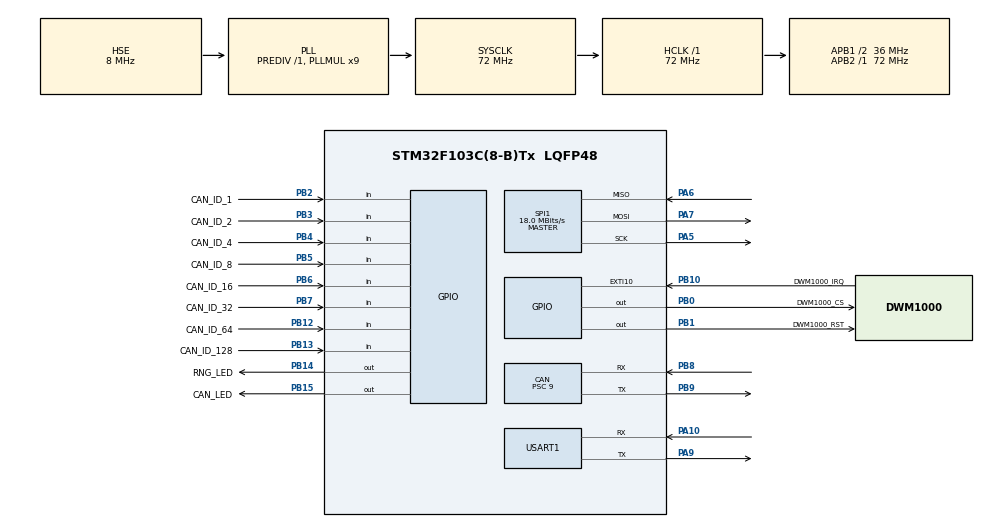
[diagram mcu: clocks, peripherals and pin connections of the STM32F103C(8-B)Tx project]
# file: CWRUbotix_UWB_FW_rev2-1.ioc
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Mcu.Family=STM32F1
FREERTOS.Queues01=dataQueue,16,uint32_t,0,Dynamic,NULL,NULL
PA6.Mode=Full_Duplex_Master
FREERTOS.BinarySemaphores01=dw_irq_sem,Dynamic,NULL;debug_bin_sem,Dynamic,NULL;doRanging,Dynamic,NULL;doBroadcast,Dynamic,NULL;timeoutSem,Dynamic,NULL
SPI1.VirtualType=VM_MASTER
PB14.GPIO_Label=RNG_LED
PB0.GPIO_Label=DWM1000_CS
PB6.GPIO_Label=CAN_ID_16
NVIC.TIM1_UP_IRQn=true\:0\:0\:false\:false\:true\:false\:false\:true
PB13.GPIO_Label=CAN_ID_128
PB13.Signal=GPIO_Input
PB15.Signal=GPIO_Output
RCC.SYSCLKSource=RCC_SYSCLKSOURCE_PLLCLK
ProjectManager.StackSize=0x400
VP_FREERTOS_VS_CMSIS_V2.Mode=CMSIS_V2
PD1-OSC_OUT.Signal=RCC_OSC_OUT
CAN.Prescaler=9
PB0.PinState=GPIO_PIN_SET
SPI1.Direction=SPI_DIRECTION_2LINES
PB1.GPIO_PuPd=GPIO_NOPULL
RCC.HCLKFreq_Value=72000000
RCC.APB2TimFreq_Value=72000000
PB6.Signal=GPIO_Input
SPI1.CalculateBaudRate=18.0 MBits/s
RCC.AHBFreq_Value=72000000
NVIC.EXTI15_10_IRQn=true\:0\:0\:false\:false\:true\:false\:true\:true
PB2.Signal=GPIO_Input
RCC.PLLMUL=RCC_PLL_MUL9
PB12.GPIO_Label=CAN_ID_64
PB3.GPIO_PuPd=GPIO_PULLDOWN
PB1.GPIO_Speed=GPIO_SPEED_FREQ_HIGH
PA14.Mode=Serial_Wire
VP_SYS_VS_tim1.Mode=TIM1
PB1.GPIO_Label=DWM1000_RST
PB7.Signal=GPIO_Input
CAN.CalculateTimeQuantum=250.0
PB2.GPIO_PuPd=GPIO_PULLDOWN
PB1.PinState=GPIO_PIN_SET
PB7.GPIO_Label=CAN_ID_32
Mcu.Package=LQFP48
PB9.Signal=CAN_TX
PA6.Signal=SPI1_MISO
PB1.Signal=GPIO_Output
NVIC.TimeBase=TIM1_UP_IRQn
NVIC.TimeBaseIP=TIM1
PA10.Signal=USART1_RX
PB5.GPIO_Label=CAN_ID_8
RCC.APB1TimFreq_Value=72000000
SPI1.BaudRatePrescaler=SPI_BAUDRATEPRESCALER_4
PB4.Signal=GPIO_Input
PA5.Mode=Full_Duplex_Master
PB3.GPIO_Label=CAN_ID_2
PB7.GPIO_PuPd=GPIO_PULLDOWN
RCC.PLLSourceVirtual=RCC_PLLSOURCE_HSE
FREERTOS.Tasks01=defaultTask,24,128,StartDefaultTask,Default,NULL,Dynamic,NULL,NULL;ioTask,8,128,StartIoTask,Default,NULL,Dynamic,NULL,NULL
PA7.Mode=Full_Duplex_Master
PD1-OSC_OUT.Mode=HSE-External-Oscillator
PA10.Mode=Asynchronous
PB6.GPIO_PuPd=GPIO_PULLDOWN
PD0-OSC_IN.Signal=RCC_OSC_IN
RCC.APB1CLKDivider=RCC_HCLK_DIV2
CAN.CalculateTimeBit=1000
PB0.GPIO_Speed=GPIO_SPEED_FREQ_HIGH
PA13.Signal=SYS_JTMS-SWDIO
PA9.Mode=Asynchronous
CAN.BS1=CAN_BS1_2TQ
ProjectManager.TargetToolchain=Makefile
PB14.GPIO_Speed=GPIO_SPEED_FREQ_HIGH
PB10.GPIO_Label=DWM1000_IRQ
PB9.Mode=Master
PA9.Signal=USART1_TX
PB4.GPIO_PuPd=GPIO_PULLDOWN
RCC.USBFreq_Value=72000000
PD0-OSC_IN.Mode=HSE-External-Oscillator
PB10.Signal=GPXTI10
PB14.Signal=GPIO_Output
PA5.Signal=SPI1_SCK
board=custom
PB13.GPIO_PuPd=GPIO_PULLDOWN
RCC.APB2Freq_Value=72000000
PB4.GPIO_Label=CAN_ID_4
PB15.GPIO_Label=CAN_LED
VP_TIM2_VS_ClockSourceINT.Mode=Internal
SPI1.Mode=SPI_MODE_MASTER
PB15.GPIO_Speed=GPIO_SPEED_FREQ_HIGH
TIM2.Period=144
PA13.Mode=Serial_Wire
Mcu.Name=STM32F103C(8-B)Tx
PB3.Signal=GPIO_Input
RCC.SYSCLKFreq_VALUE=72000000
PB5.Signal=GPIO_Input
PB5.GPIO_PuPd=GPIO_PULLDOWN
USART1.VirtualMode=VM_ASYNC
PA14.Signal=SYS_JTCK-SWCLK
PB2.GPIO_Label=CAN_ID_1
ProjectManager.HeapSize=0x200
FREERTOS.Timers01=rangingTimer,rangingTimerCallback,osTimerPeriodic,Default,NULL,Dynamic,NULL;broadcastTimer,boadcastTimerCallback,osTimerPeriodic,Default,NULL,Dynamic,NULL;rangingTimeoutTimer,rngTimeoutCallback,osTimerOnce,Default,NULL,Dynamic,NULL
NVIC.PriorityGroup=NVIC_PRIORITYGROUP_4
PB8.Mode=Master
PB8.Signal=CAN_RX
PB1.GPIO_ModeDefaultOutputPP=GPIO_MODE_OUTPUT_OD
PB12.GPIO_PuPd=GPIO_PULLDOWN
RCC.APB1Freq_Value=36000000
PB0.Signal=GPIO_Output
PB12.Signal=GPIO_Input
PA7.Signal=SPI1_MOSI

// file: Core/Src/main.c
/* USER CODE BEGIN Header */
/**
  ******************************************************************************
  * @file           : main.c
  * @brief          : Main program body
  ******************************************************************************
  * @attention
  *
  * <h2><center>&copy; Copyright (c) 2021 STMicroelectronics.
  * All rights reserved.</center></h2>
  *
  * This software component is licensed by ST under BSD 3-Clause license,
  * the "License"; You may not use this file except in compliance with the
  * License. You may obtain a copy of the License at:
  *                        opensource.org/licenses/BSD-3-Clause
  *
  ******************************************************************************
  */
/* USER CODE END Header */
#include "main.h"
#include "cmsis_os.h"
#include "can.h"
#include "spi.h"
#include "tim.h"
#include "usart.h"
#include "gpio.h"

void SystemClock_Config(void);
void MX_FREERTOS_Init(void);

int main(void)
{

  /* MCU Configuration--------------------------------------------------------*/

  /* Reset of all peripherals, Initializes the Flash interface and the Systick. */
  HAL_Init();

  /* Configure the system clock */
  SystemClock_Config();

  /* Initialize all configured peripherals */
  MX_GPIO_Init();
  MX_CAN_Init();
  MX_SPI1_Init();
  MX_USART1_UART_Init();
  MX_TIM2_Init();

  /* Init scheduler */
  osKernelInitialize();  /* Call init function for freertos objects (in freertos.c) */
  MX_FREERTOS_Init();
  /* Start scheduler */
  osKernelStart();

  /* We should never get here as control is now taken by the scheduler */
  /* Infinite loop */
  while (1)
  {

  }
}

void SystemClock_Config(void)
{
  RCC_OscInitTypeDef RCC_OscInitStruct = {0};
  RCC_ClkInitTypeDef RCC_ClkInitStruct = {0};

  /** Initializes the RCC Oscillators according to the specified parameters
  * in the RCC_OscInitTypeDef structure.
  */
  RCC_OscInitStruct.OscillatorType = RCC_OSCILLATORTYPE_HSE;
  RCC_OscInitStruct.HSEState = RCC_HSE_ON;
  RCC_OscInitStruct.HSEPredivValue = RCC_HSE_PREDIV_DIV1;
  RCC_OscInitStruct.HSIState = RCC_HSI_ON;
  RCC_OscInitStruct.PLL.PLLState = RCC_PLL_ON;
  RCC_OscInitStruct.PLL.PLLSource = RCC_PLLSOURCE_HSE;
  RCC_OscInitStruct.PLL.PLLMUL = RCC_PLL_MUL9;
  if (HAL_RCC_OscConfig(&RCC_OscInitStruct) != HAL_OK)
  {
    Error_Handler();
  }
  /** Initializes the CPU, AHB and APB buses clocks
  */
  RCC_ClkInitStruct.ClockType = RCC_CLOCKTYPE_HCLK|RCC_CLOCKTYPE_SYSCLK
                              |RCC_CLOCKTYPE_PCLK1|RCC_CLOCKTYPE_PCLK2;
  RCC_ClkInitStruct.SYSCLKSource = RCC_SYSCLKSOURCE_PLLCLK;
  RCC_ClkInitStruct.AHBCLKDivider = RCC_SYSCLK_DIV1;
  RCC_ClkInitStruct.APB1CLKDivider = RCC_HCLK_DIV2;
  RCC_ClkInitStruct.APB2CLKDivider = RCC_HCLK_DIV1;

  if (HAL_RCC_ClockConfig(&RCC_ClkInitStruct, FLASH_LATENCY_2) != HAL_OK)
  {
    Error_Handler();
  }
}

void HAL_TIM_PeriodElapsedCallback(TIM_HandleTypeDef *htim)
{
  if (htim->Instance == TIM1) {
    HAL_IncTick();
  }
}

void Error_Handler(void)
{
}

/************************ (C) COPYRIGHT STMicroelectronics *****END OF FILE****/

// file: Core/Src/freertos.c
/* USER CODE BEGIN Header */
/**
  ******************************************************************************
  * File Name          : freertos.c
  * Description        : Code for freertos applications
  ******************************************************************************
  * @attention
  *
  * <h2><center>&copy; Copyright (c) 2021 STMicroelectronics.
  * All rights reserved.</center></h2>
  *
  * This software component is licensed by ST under Ultimate Liberty license
  * SLA0044, the "License"; You may not use this file except in compliance with
  * the License. You may obtain a copy of the License at:
  *                             www.st.com/SLA0044
  *
  ******************************************************************************
  */
/* USER CODE END Header */

#include "FreeRTOS.h"
#include "task.h"
#include "main.h"
#include "cmsis_os.h"

/* USER CODE BEGIN Includes */
#include "can.h"
#include "usart.h"
#include "spi.h"
#include "tim.h"
#include <inttypes.h>
#include "semphr.h"
#include "string.h"
#include "comm.h"
#include "rtls.h"
#include "printf.h"
/* USER CODE END Includes */

/* USER CODE BEGIN PTD */
typedef struct ranging_data_struct {
  uint16_t anchor_id;
  float distance;
  uint16_t confidence;
}RangingData_t;
/* USER CODE END PTD */

/* USER CODE BEGIN PD */
#define IF_TYPE_USB 	0x01
#define IF_TYPE_UART 	0x02

#define DEBUG_BUF_SIZE 256
/* USER CODE END PD */

/* USER CODE BEGIN Variables */
extern uint8_t* debug_buf;
int debug_buf_offset = 0; // indicates length of the string in debug_buf
char debug_text[80];
char scratch_buf[128];
int print_ind = 0;

static dwt_config_t config = {
		2,               /* Channel number. */
		DWT_PRF_64M,     /* Pulse repetition frequency. */
		DWT_PLEN_128,   /* Preamble length. Used in TX only. */
		DWT_PAC8,       /* Preamble acquisition chunk size. Used in RX only. */
		9,               /* TX preamble code. Used in TX only. */
		9,               /* RX preamble code. Used in RX only. */
		0,               /* 0 to use standard SFD, 1 to use non-standard SFD. */
		DWT_BR_6M8,      /* Data rate. */
		DWT_PHRMODE_STD, /* PHY header mode. */
		(1025 + 64)    	 /* SFD timeout (preamble length + 1 + SFD length - PAC size). Used in RX only. */
};

state_data_t 	state_data;
CONFIG_FIELD_TYPE self_config[FIELD_SIZE*NUM_FIELDS]; 	// configuration for ourselves
extern AnchorData* anchor_data;
extern TagData* tag_data;
extern uint8_t UserRxBufferFS[];
uint8_t UserTxBufferFS[INPUT_BUFFER_SIZE];
state_t 		state 		= IDLE;
HAL_StatusTypeDef 	UART_status;
HAL_StatusTypeDef 	uart2_status; 	// status of uart2
int8_t 				usb_status;
uint32_t 			bytes_read; 	//
uint8_t packet[INPUT_BUFFER_SIZE]; 	// will hold received packet from host
uint8_t packet_type = 0; 			// type of received packet
int packet_len 	= 0; 			// length of received packet
int packet_rcvd 	= 0; 			// indicate if packet has been received and how to process it
uint8_t send_buf[SEND_BUF_SIZE]; 	// lorge buffer for response packet
int usb_ind = 0;

/* Definitions for debug_bin_sem */
osSemaphoreId_t sendCanUpdateBinSemHandle;
const osSemaphoreAttr_t sendCanUpdateBinSem_attributes = {
  .name = "sendCanUpdateBinSem"
};
/* Definitions for dataQueue */
osMessageQueueId_t rangingDataQueueHandle;
const osMessageQueueAttr_t rangingDataQueue_attributes = {
  .name = "rangingDataQueue"
};

/* USER CODE END Variables */
/* Definitions for defaultTask */
osThreadId_t defaultTaskHandle;
const osThreadAttr_t defaultTask_attributes = {
  .name = "defaultTask",
  .priority = (osPriority_t) osPriorityNormal,
  .stack_size = 128 * 4
};
/* Definitions for ioTask */
osThreadId_t ioTaskHandle;
const osThreadAttr_t ioTask_attributes = {
  .name = "ioTask",
  .priority = (osPriority_t) osPriorityLow,
  .stack_size = 128 * 4
};
/* Definitions for dataQueue */
osMessageQueueId_t dataQueueHandle;
const osMessageQueueAttr_t dataQueue_attributes = {
  .name = "dataQueue"
};
/* Definitions for rangingTimer */
osTimerId_t rangingTimerHandle;
const osTimerAttr_t rangingTimer_attributes = {
  .name = "rangingTimer"
};
/* Definitions for broadcastTimer */
osTimerId_t broadcastTimerHandle;
const osTimerAttr_t broadcastTimer_attributes = {
  .name = "broadcastTimer"
};
/* Definitions for rangingTimeoutTimer */
osTimerId_t rangingTimeoutTimerHandle;
const osTimerAttr_t rangingTimeoutTimer_attributes = {
  .name = "rangingTimeoutTimer"
};
/* Definitions for dw_irq_sem */
osSemaphoreId_t dw_irq_semHandle;
const osSemaphoreAttr_t dw_irq_sem_attributes = {
  .name = "dw_irq_sem"
};
/* Definitions for debug_bin_sem */
osSemaphoreId_t debug_bin_semHandle;
const osSemaphoreAttr_t debug_bin_sem_attributes = {
  .name = "debug_bin_sem"
};
/* Definitions for doRanging */
osSemaphoreId_t doRangingHandle;
const osSemaphoreAttr_t doRanging_attributes = {
  .name = "doRanging"
};
/* Definitions for doBroadcast */
osSemaphoreId_t doBroadcastHandle;
const osSemaphoreAttr_t doBroadcast_attributes = {
  .name = "doBroadcast"
};
/* Definitions for timeoutSem */
osSemaphoreId_t timeoutSemHandle;
const osSemaphoreAttr_t timeoutSem_attributes = {
  .name = "timeoutSem"
};

/* USER CODE BEGIN FunctionPrototypes */
uint32_t get_self_id();
/* USER CODE END FunctionPrototypes */

void StartDefaultTask(void *argument);
void StartIoTask(void *argument);
void rangingTimerCallback(void *argument);
void boadcastTimerCallback(void *argument);
void rngTimeoutCallback(void *argument);

void MX_FREERTOS_Init(void); /* (MISRA C 2004 rule 8.1) */

void MX_FREERTOS_Init(void) {

  /* Create the semaphores(s) */
  /* creation of dw_irq_sem */
  dw_irq_semHandle = osSemaphoreNew(1, 1, &dw_irq_sem_attributes);

  /* creation of debug_bin_sem */
  debug_bin_semHandle = osSemaphoreNew(1, 1, &debug_bin_sem_attributes);

  /* creation of doRanging */
  doRangingHandle = osSemaphoreNew(1, 1, &doRanging_attributes);

  /* creation of doBroadcast */
  doBroadcastHandle = osSemaphoreNew(1, 1, &doBroadcast_attributes);

  /* creation of timeoutSem */
  timeoutSemHandle = osSemaphoreNew(1, 1, &timeoutSem_attributes);

  /* USER CODE BEGIN RTOS_SEMAPHORES */
  /* add semaphores, ... */
  sendCanUpdateBinSemHandle = osSemaphoreNew(1, 1, &sendCanUpdateBinSem_attributes);
  /* USER CODE END RTOS_SEMAPHORES */

  /* Create the timer(s) */
  /* creation of rangingTimer */
  rangingTimerHandle = osTimerNew(rangingTimerCallback, osTimerPeriodic, NULL, &rangingTimer_attributes);

  /* creation of broadcastTimer */
  broadcastTimerHandle = osTimerNew(boadcastTimerCallback, osTimerPeriodic, NULL, &broadcastTimer_attributes);

  /* creation of rangingTimeoutTimer */
  rangingTimeoutTimerHandle = osTimerNew(rngTimeoutCallback, osTimerOnce, NULL, &rangingTimeoutTimer_attributes);

  /* Create the queue(s) */
  /* creation of dataQueue */
  dataQueueHandle = osMessageQueueNew (16, sizeof(uint32_t), &dataQueue_attributes);

  /* USER CODE BEGIN RTOS_QUEUES */
  /* add queues, ... */
  rangingDataQueueHandle = osMessageQueueNew (8, sizeof(RangingData_t), &rangingDataQueue_attributes);
  /* USER CODE END RTOS_QUEUES */

  /* Create the thread(s) */
  /* creation of defaultTask */
  defaultTaskHandle = osThreadNew(StartDefaultTask, NULL, &defaultTask_attributes);

  /* creation of ioTask */
  ioTaskHandle = osThreadNew(StartIoTask, NULL, &ioTask_attributes);

}

void StartDefaultTask(void *argument)
{
  /* USER CODE BEGIN StartDefaultTask */

  init_anchor_array(anchor_data, ANCHOR_LIST_SIZE + 1);
  state_data.anchors = anchor_data;
  state_data.tags = tag_data;
  init_field_memory(self_config); // set everything to defaults
  read_config_from_eeprom(self_config); 	// pull any existing values from flash
  state_data.self_id = (uint16_t)get_self_id(); // id set by DIP switches
  init_from_config(self_config, &config, &state_data); // inititalize the DWM1000 from our fields

  osDelay(state_data.self_id * 10); // stagger startup times

  if(state_data.mode == DEVICE_MODE_TAG){
		osTimerStart(rangingTimerHandle, state_data.ranging_period); // start the ranging timer
  }else{
		osTimerStart(broadcastTimerHandle, ANCHOR_BROADCAST_PERIOD + 10*state_data.self_id); // start the broadcast timer
  }
  /* Infinite loop */
  for(;;)
  {
    // Check if we've received a frame
    if(osSemaphoreAcquire(dw_irq_semHandle, 20) == osOK && read_rx_frame(state_data.rx_buffer) > 0){
      // we've received a frame
      // debug_put("Frame received\r\n");
			if(state_data.rx_buffer[MAC_SIZE_EXPECTED] == ANCHOR_BROADCAST){
        // debug_put("Processing Broadcast\r\n");
				process_anchor_broadcast(&state_data); // this also reenables receiver
			}else if(state_data.mode == DEVICE_MODE_TAG){
        // ==== NEW FRAME STATE MACHINE ====
        switch(state_data.state){
          case IDLE:{
            dwt_rxenable(DWT_START_RX_IMMEDIATE); // re-enable receiver and listen for broadcast
            osDelay(2); // while idle, delay between loop iterations
            break;
          }case WAIT_FOR_RESPONSE:{
            if(state_data.rx_buffer[MAC_SIZE_EXPECTED] == RESPONSE_INIT &&
              get_src_addr(state_data.rx_buffer) == state_data.transact_id){

              state_data.t_rr = get_rx_timestamp();

              send_response_final(&state_data);

              if(state_data.tx_status == TX_SUCCESS){
                set_wait_for_data(&state_data); // also enables receiver
                // debug_put("Got response\r\n");
              }else{
                debug_put("Transmit failed.\r\n");
                dwt_forcetrxoff();
                // init_from_config(self_config, &config, &state_data); // just reinitialize
                set_state_tag_idle(&state_data);
                osDelay(5);
              }

            }
            else{
              dwt_rxenable(DWT_START_RX_IMMEDIATE); // re-enable receiver and keep listening
            }
            break;
          }case WAIT_FOR_DATA:{
            if(state_data.rx_buffer[MAC_SIZE_EXPECTED] == RESPONSE_DATA && get_src_addr(state_data.rx_buffer) == state_data.transact_id){

              osTimerStop(rangingTimeoutTimerHandle); // stop the timeout timer

              AnchorData* anchor = &(state_data.anchors[state_data.anchor_ind]);

              // COPY ALL THE DATA OVER
              int ind = MAC_SIZE_EXPECTED + 1; // index for start of timestamps
              memcpy(&state_data.t_rp, state_data.rx_buffer + ind, sizeof(state_data.t_rp));
              ind += sizeof(state_data.t_rp);
              memcpy(&state_data.t_sr, state_data.rx_buffer + ind, sizeof(state_data.t_sr));
              ind += sizeof(state_data.t_sr);
              memcpy(&state_data.t_rf, state_data.rx_buffer + ind, sizeof(state_data.t_rf));
              ind += sizeof(state_data.t_rf);
              memcpy(&anchor->x, state_data.rx_buffer + ind, sizeof(anchor->x));
              ind += sizeof(anchor->x);
              memcpy(&anchor->y, state_data.rx_buffer + ind, sizeof(anchor->y));
              ind += sizeof(anchor->y);
              memcpy(&anchor->z, state_data.rx_buffer + ind, sizeof(anchor->z));
              ind += sizeof(anchor->z);
              anchor->timestamp = HAL_GetTick();

              get_tof(&state_data); // updates the tof field

              state_data.distance = DISTANCE_FROM_TOF(state_data.tof);

              anchor->timeout_count = 0; // only a successful ranging transaction will reset this counter
              anchor->distance = state_data.distance;
              sprintf(debug_text, "Distance to anchor %d is %.3f\r\n", anchor->id, anchor->distance);
              debug_put(debug_text);

              if(osMessageQueueGetSpace(rangingDataQueueHandle) > 0){
                RangingData_t data = {
                  .anchor_id = anchor->id,
                  .distance = state_data.distance,
                  .confidence = 0
                };
                osMessageQueuePut(rangingDataQueueHandle, &data, 0, 0);
              }

              set_state_tag_idle(&state_data); 		// back to idle state

              next_anchor(&state_data); 				// increment anchor index

              osDelay(5);
            }
            break;
          }default:{
            set_state_tag_idle(&state_data);
            break;
          }
        }
        // dwt_rxenable(DWT_START_RX_IMMEDIATE); 	// finally, re-enable receiver and keep listening
      }else if(state_data.mode == DEVICE_MODE_ANCHOR){
        // react based on the frame type
        switch(state_data.rx_buffer[MAC_SIZE_EXPECTED]){
          case POLL:{

            state_data.t_rp = get_rx_timestamp(); 		// stash rx timestamp
            state_data.transact_id = get_src_addr(state_data.rx_buffer); // indicate who we're talking with

            // sprintf(debug_text, "Poll received from %d\r\n", state_data.transact_id);
            // debug_put(debug_text);

            TagData new_tag;
            int ind = find_tag(state_data.transact_id, state_data.tags);
            if(ind < 0){
              // didn't find it, so try to add it
              ind = add_tag(new_tag, state_data.tags);
            }

            if(ind >= 0){
              // we were able to add it
              enable_ranging(&state_data); // indicate ranging in progress
              state_data.tags[ind].active = 1;
              state_data.tags[ind].id = state_data.transact_id;
              state_data.tags[ind].t_rp = state_data.t_rp;

              dwt_forcetrxoff(); // seems we need to do this
              send_response_init(&state_data); 	// send a RESPONSE_INIT frame & stash t_sr timestamp
              state_data.tags[ind].t_sr = state_data.t_sr; // copy over for when we need to respond

              if(state_data.tx_status != TX_SUCCESS){
                init_from_config(self_config, &config, &state_data); // just reinitialize
              }else{
                // osTimerStart(rangingTimeoutTimerHandle, RANGING_TIMEOUT); // start the ranging timeout timer
                // osSemaphoreAcquire(timeoutSemHandle, 0);
              }
            }else{
              debug_put("Can't add tag, queue full\r\n");
            }

            break;
          }case SEND_FINAL:{
            state_data.transact_id = get_src_addr(state_data.rx_buffer); //
            state_data.t_rf = get_rx_timestamp(); 	// stash the timestamp

            int ind = find_tag(state_data.transact_id, state_data.tags);
            if(ind >= 0 && state_data.tags[ind].active){
              // we have a tag matching this transaction id and it's active
              state_data.t_rp = state_data.tags[ind].t_rp;
              state_data.t_sr = state_data.tags[ind].t_sr;
              state_data.tags[ind].t_rf = state_data.t_rf;

              send_response_data(&state_data); 		// send a RESPONSE_DATA frame. it packages all the timestamps from state_data
              disable_ranging(&state_data);
              state_data.tags[ind].active = 0;    // reset this flag since we're now done ranging with it
            }
            break;
          }default:{
            break;
          }
        }
        dwt_rxenable(DWT_START_RX_IMMEDIATE); // finally, make sure receiver is enabled
      }
    }// end if new frame
    else{
      // no RX Interrupt, but do the following anyway. Seems anchors don't work without this
      dwt_rxenable(DWT_START_RX_IMMEDIATE); // make sure receiver is enabled
    }

    // ---- Check if it's time for ranging ----
    if(state_data.mode == DEVICE_MODE_TAG && !state_data.ranging && state_data.num_anchors > 0 && osSemaphoreAcquire(doRangingHandle, 5) == osOK){
      enable_ranging(&state_data);

      dwt_forcetrxoff(); // in case we were in RX mode looking for a beacon frame

      // select whichever anchor we're ranging with
      state_data.transact_id = state_data.anchors[state_data.anchor_ind].id;

      // sprintf(debug_text, "ranging with %d, index %d\r\n", state_data.transact_id, state_data.anchor_ind);
      // debug_put(debug_text);

      int data_len = rtls_make_mac_header(&state_data, FRAME_TYPE_DATA); //make_mac_header(state_data.tx_buffer, state_data.transact_id, state_data.transact_id, state_data.seq_num);
      state_data.tx_buffer[data_len++] = POLL; // right after the MAC header

      if(transmit_frame(state_data.tx_buffer, data_len + 2, 1) != TX_SUCCESS){
        debug_put("Transmit failed.\r\n");
        dwt_forcetrxoff();
        // init_from_config(self_config, &config, &state_data); // just reinitialize
        set_state_tag_idle(&state_data);
        osDelay(5);
      }else{
        set_wait_for_repsonse(&state_data); // advance state machine and enable receiver
        state_data.t_sp = get_tx_timestamp();

        if(osTimerIsRunning(rangingTimeoutTimerHandle)){
          osTimerStop(rangingTimeoutTimerHandle);
        }
        osTimerStart(rangingTimeoutTimerHandle, RANGING_TIMEOUT); // start the ranging timeout timer
        osSemaphoreAcquire(timeoutSemHandle, 0);
      }
    }
    // or time for broadcasting
    else if(state_data.mode == DEVICE_MODE_ANCHOR && osSemaphoreAcquire(doBroadcastHandle, 0) == osOK){
      // debug_put("Broadcasting...\r\n");
			dwt_forcetrxoff();
      send_anchor_broadcast(&state_data);
      // uint16_t tempvbat = dwt_readtempvbat(1);
      dwt_rxenable(DWT_START_RX_IMMEDIATE); // re-enable receiver and keep listening
    }

    // ---- TIMEOUT ----
    if(state_data.ranging && osSemaphoreAcquire(timeoutSemHandle, 0) == osOK){ //

      sprintf(debug_text, "timed out with %d\r\n", state_data.transact_id);
      debug_put(debug_text);
      if(check_rx_state() != 0){
        debug_put("RX RESET\r\n");
        osDelay(10);
      }
      disable_ranging(&state_data);       // reset flag
      if(state_data.mode == DEVICE_MODE_TAG){
        state_data.anchors[state_data.anchor_ind].timeout_count++;
        state_data.num_anchors -= remove_dead_anchors(state_data.anchors, state_data.num_anchors);
        set_state_tag_idle(&state_data);  // back to idle state
        next_anchor(&state_data); 				// increment anchor index
        osDelay(5);
      }
      // perhaps the other side was busy for some reason.
      // If so, delay for a short while to prevent overlap with other devices
      osDelay(5);
    }
    // we should only insert loop delay when we're not in a ranging transaction
    // osDelay(1);
  }
  /* USER CODE END StartDefaultTask */
}

void StartIoTask(void *argument)
{
  /* USER CODE BEGIN StartIoTask */

  // figure out can ID
  uint32_t self_can_id = get_self_id();

  CAN_FilterTypeDef can_filter;
  can_filter.FilterFIFOAssignment = CAN_RX_FIFO0;
  can_filter.FilterScale = CAN_FILTERSCALE_32BIT;
  can_filter.FilterMode = CAN_FILTERMODE_IDMASK;
  can_filter.FilterIdHigh = 0x0000;
  can_filter.FilterIdLow = 0x0000;
  can_filter.FilterMaskIdHigh = self_can_id << 5; // put our id in the STDID mask area (must match)
  can_filter.FilterMaskIdLow = 0x0000;
  can_filter.FilterBank = 0;
  can_filter.FilterActivation = CAN_FILTER_ENABLE;

  HAL_CAN_ConfigFilter(&hcan, &can_filter);
  /* Start the CAN Module */
  HAL_CAN_Start(&hcan);

  /* Infinite loop */
  osDelay(100);
  for(;;)
  {
    // see if it's time to send an update over CAN
    RangingData_t rng_data;
    while(osMessageQueueGet(rangingDataQueueHandle, &rng_data, NULL, 0) == osOK){
      CAN_TxHeaderTypeDef hddr;
      uint32_t mailbox;
      uint8_t data[8];
      hddr.StdId  = self_can_id;
      hddr.IDE    = CAN_ID_STD;
      hddr.RTR    = CAN_RTR_DATA;
      hddr.DLC    = 8;
      int i = 0;
      data[i++]   = (uint8_t)(rng_data.anchor_id >> 8);
      data[i++]   = (uint8_t)(rng_data.anchor_id & 0xFF);
      memcpy(data + i, &(rng_data.distance), sizeof(rng_data.distance));
      i += sizeof(rng_data.distance);
      data[i++]   = (uint8_t)(rng_data.confidence >> 8);
      data[i++]   = (uint8_t)(rng_data.confidence & 0xFF);
      HAL_CAN_AddTxMessage(&hcan, &hddr, data, &mailbox);
    }

    // see if we've received anything over CAN
    uint32_t can_frame_available = HAL_CAN_GetRxFifoFillLevel(&hcan, CAN_RX_FIFO0);

	  if(can_frame_available > 0){
      CAN_LED_GPIO_Port->ODR |= CAN_LED_Pin;
		  CAN_RxHeaderTypeDef hddr;
		  uint8_t data[8];
		  HAL_StatusTypeDef CAN_status = HAL_CAN_GetRxMessage(&hcan, CAN_RX_FIFO0, &hddr, data);

		  if(CAN_status == HAL_OK && hddr.RTR == CAN_RTR_REMOTE && hddr.StdId == self_can_id){
		  }
      CAN_LED_GPIO_Port->ODR &= ~CAN_LED_Pin;
	  }

    if(debug_buf_offset > 0){
      HAL_UART_Transmit(&huart1, debug_buf, debug_buf_offset, 5);
      debug_buf_offset = 0;
    }
    // ---- check Interfaces for data ----
	  uart2_status = HAL_UART_Receive(&huart1, packet, HDDR_LEN, 1);
		if((packet_type = packet[0]) != 0 && uart2_status == HAL_OK){
			packet_len = HDDR_LEN + packet[1] + 1; 	// get the packet length

			if(packet_len > INPUT_BUFFER_SIZE)
				packet_len = INPUT_BUFFER_SIZE; // clamp packet_len just in case

			// read the packet
			uart2_status = HAL_UART_Receive(&huart1, packet + HDDR_LEN, packet[1] + 1, INPUT_TIMEOUT);

			// if all is well
			if(uart2_status == HAL_OK && packet[packet_len - 1] == STOP_BYTE){
				packet_rcvd = IF_TYPE_UART;
			}

		}

    // ---- if received, process the data ----
    if(packet_rcvd > 0){
      // debug_put("Processing data\r\n");
      int packet_status = process_packet(packet, UserTxBufferFS, self_config, &state_data);

      if(packet_status == PACKET_OK){
        if(packet[0] == CMD_SET_CONFIG){
          init_from_config(self_config, &config, &state_data); // re-initialize with the new parameters
          save_fields_to_eeprom(self_config);

          if(state_data.mode == DEVICE_MODE_TAG){
            osTimerStop(broadcastTimerHandle);
		        osTimerStart(rangingTimerHandle, state_data.ranging_period); // start the ranging timer
          }else{
            osTimerStop(rangingTimerHandle);
            osTimerStart(broadcastTimerHandle, ANCHOR_BROADCAST_PERIOD); // start the broadcast timer
          }

        }
      }else{
        debug_put("Packet error\r\n");
      }
      int send_size = HDDR_LEN + UserTxBufferFS[1] + 1;
      switch(packet_rcvd){
      uart2_status = HAL_UART_Transmit(&huart1, UserTxBufferFS, send_size, INPUT_TIMEOUT);
      packet_rcvd = 0; // reset this flag
    }
    // debug_put("USER IO LOOP\r\n");
    osDelay(25);
  }
  /* USER CODE END StartIoTask */
}

/* rangingTimerCallback function */
void rangingTimerCallback(void *argument)
{
  /* USER CODE BEGIN rangingTimerCallback */
  osSemaphoreRelease(doRangingHandle);
  /* USER CODE END rangingTimerCallback */
}

/* boadcastTimerCallback function */
void boadcastTimerCallback(void *argument)
{
}

/* rngTimeoutCallback function */
void rngTimeoutCallback(void *argument)
{
  /* USER CODE BEGIN rngTimeoutCallback */
  osSemaphoreRelease(timeoutSemHandle);
  /* USER CODE END rngTimeoutCallback */
}

/* USER CODE BEGIN Application */

uint32_t get_self_id(){
  uint32_t retval = 0;
  retval |= HAL_GPIO_ReadPin(CAN_ID_128_GPIO_Port, CAN_ID_128_Pin) << 7;
  retval |= HAL_GPIO_ReadPin(CAN_ID_64_GPIO_Port, CAN_ID_64_Pin) << 6;
  retval |= HAL_GPIO_ReadPin(CAN_ID_32_GPIO_Port, CAN_ID_32_Pin) << 5;
  retval |= HAL_GPIO_ReadPin(CAN_ID_16_GPIO_Port, CAN_ID_16_Pin) << 4;
  retval |= HAL_GPIO_ReadPin(CAN_ID_8_GPIO_Port, CAN_ID_8_Pin) << 3;
  retval |= HAL_GPIO_ReadPin(CAN_ID_4_GPIO_Port, CAN_ID_4_Pin) << 2;
  retval |= HAL_GPIO_ReadPin(CAN_ID_2_GPIO_Port, CAN_ID_2_Pin) << 1;
  retval |= HAL_GPIO_ReadPin(CAN_ID_1_GPIO_Port, CAN_ID_1_Pin) << 0;

  return retval;
}

/**
 * callback to run when the DWM_IRQn pin goes HIGH, indicating frame reception
 */
void HAL_GPIO_EXTI_Callback(uint16_t GPIO_Pin){

	if(GPIO_Pin == DW_IRQn_Pin){
    osSemaphoreRelease(dw_irq_semHandle);
  }

}

void debug(char* text){
  HAL_UART_Transmit(&huart1, text, strlen(text), 10);
}

bool debug_put(char* text){
  sprintf(scratch_buf, "[%10d] : %s", HAL_GetTick(), text);
  int len = strlen(scratch_buf);
  if((debug_buf_offset + len) > DEBUG_BUF_SIZE){
    len = DEBUG_BUF_SIZE - debug_buf_offset; // clamp length so we don't overrun debug_buf
  }
  memcpy(debug_buf + debug_buf_offset, scratch_buf, len);
  debug_buf_offset += len;

  return len > 0;
}
/* USER CODE END Application */

/************************ (C) COPYRIGHT STMicroelectronics *****END OF FILE****/
